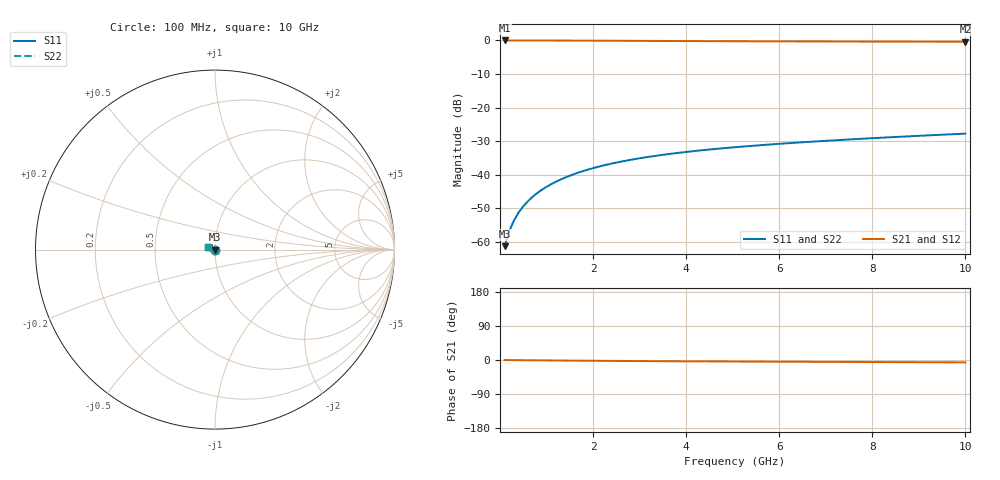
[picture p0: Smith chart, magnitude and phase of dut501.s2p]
! Touchstone file exported from HFSS 2024.1.0
!  File:  C:/UserFiles/LocalFiles/RDL_TSV_Batchsim/temp_TSV1_501_1779701518.aedt
!  Generated:  05:40:51 PM May 25, 2026
!  Design:  TSV1
!  Project:  temp_TSV1_501_1779701518
!  Setup:  Setup1
!  Solution:  Sweep
! Variables:
!  dtsv = 5.33um
!  hbump = 3um
!  htsv = 97.28um
!  lrdl = 252.1521522um
!  p = 40
!  p1 = 41.2um
!  t = 500um
!  trdl = 3um
!  wrdl = 24.89489489um
# GHz S MA R 50.000000
! Terminal data exported
! Port[1] = TSV22_T1
! Port[2] = TSV22_T2
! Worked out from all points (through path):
!   100 points, 100 MHz to 10 GHz, reference 50 ohm
!   highest |S21| = -0.01 dB at 100 MHz (marker M1); lowest = -0.4 dB at 10 GHz (marker M2)
!   lowest |S11| = -61.3 dB at 100 MHz (marker M3), VSWR 1.00, Z = 50.1 - j0.0675 ohm
!   |S11| at or under -10 dB: start of sweep to end of sweep
!   |S22| runs from -61.3 to -27.8 dB; largest |S21 - S12| = 7e-15
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0.1  0.0008641 -51.3  0.9994 -0.1  0.9994 -0.1  0.0008641 -51.3
! Gamma 0 0 0 0
! Port Impedance 50 0 50 0
0.2  0.001447 -70.6  0.9993 -0.2  0.9993 -0.2  0.001447 -70.6
0.3  0.002082 -79.7  0.9992 -0.3  0.9992 -0.3  0.002082 -79.7
0.4  0.00273 -85.5  0.999 -0.4  0.999 -0.4  0.00273 -85.5
0.5  0.003383 -89.7  0.9988 -0.6  0.9988 -0.6  0.003383 -89.7
0.6  0.004035 -93.2  0.9986 -0.7  0.9986 -0.7  0.004035 -93.2
0.7  0.004685 -96.2  0.9983 -0.8  0.9983 -0.8  0.004685 -96.2
0.8  0.005331 -98.9  0.998 -0.9  0.998 -0.9  0.005331 -98.9
0.9  0.005972 -101.4  0.9976 -1.0  0.9976 -1.0  0.005972 -101.4
1.1  0.007237 -106.1  0.9968 -1.2  0.9968 -1.2  0.007237 -106.1
1.4  0.009081 -112.4  0.9953 -1.5  0.9953 -1.5  0.009081 -112.4
1.6  0.01027 -116.3  0.9942 -1.7  0.9942 -1.7  0.01027 -116.3
1.8  0.01142 -120.1  0.993 -1.9  0.993 -1.9  0.01142 -120.1
2.1  0.01309 -125.4  0.9911 -2.1  0.9911 -2.1  0.01309 -125.4
2.5  0.01518 -132.2  0.9885 -2.5  0.9885 -2.5  0.01518 -132.2
2.9  0.01712 -138.5  0.9858 -2.8  0.9858 -2.8  0.01712 -138.5
3.4  0.01937 -145.8  0.9824 -3.1  0.9824 -3.1  0.01937 -145.8
4.2  0.02262 -156.3  0.9775 -3.6  0.9775 -3.6  0.02262 -156.3
5.1  0.02588 -166.6  0.9726 -4.1  0.9726 -4.1  0.02588 -166.6
6.7  0.03108 178.1  0.9658 -4.8  0.9658 -4.8  0.03108 178.1
8.4  0.03621 165.3  0.9607 -5.6  0.9607 -5.6  0.03621 165.3
10  0.04093 155.5  0.9571 -6.2  0.9571 -6.2  0.04093 155.5
